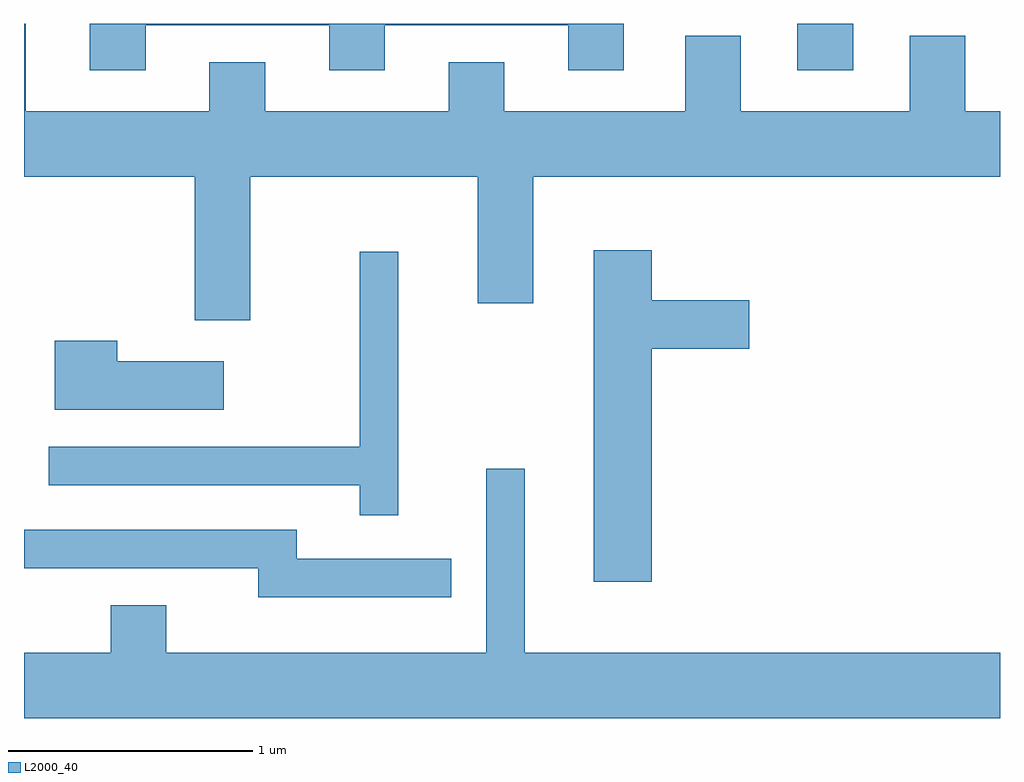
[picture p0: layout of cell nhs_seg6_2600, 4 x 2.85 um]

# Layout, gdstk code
import gdstk
lib = gdstk.Library(unit=1e-6, precision=1e-09)
def R(c, l, rs):  # rectangles x0, y0, x1, y1
    for r in rs: c.add(gdstk.rectangle(r[:2], r[2:], *l))
def P(c, l, *ps):  # polygons
    for p in ps: c.add(gdstk.Polygon(p, *l))
L2000_40 = (2000, 40)

nhs_seg6_2600 = lib.new_cell('nhs_seg6_2600')
R(nhs_seg6_2600, L2000_40, [(266.781,1605.971,267.009,1606.162)])
P(nhs_seg6_2600, L2000_40, [(264.109,1606.156),(264.861,1606.156),(264.861,1605.971),(265.089,1605.971),(265.089,1606.156),(265.841,1606.156),(265.841,1605.971),(266.069,1605.971),(266.069,1606.162),(263.881,1606.162),(263.881,1605.971),(264.109,1605.971)],
  [(264.539,1605.536),(265.471,1605.536),(265.471,1605.016),(265.699,1605.016),(265.699,1605.536),(267.611,1605.536),(267.611,1605.804),(267.469,1605.804),(267.469,1606.114),(267.241,1606.114),(267.241,1605.804),(266.549,1605.804),(266.549,1606.114),(266.321,1606.114),(266.321,1605.804),(265.579,1605.804),(265.579,1606.004),(265.351,1606.004),(265.351,1605.804),(264.599,1605.804),(264.599,1606.004),(264.371,1606.004),(264.371,1605.804),(263.619,1605.804),(263.619,1606.162),(263.611,1606.162),(263.611,1605.536),(264.311,1605.536),(264.311,1604.946),(264.539,1604.946)],
  [(266.184,1604.831),(266.584,1604.831),(266.584,1605.029),(266.184,1605.029),(266.184,1605.234),(265.946,1605.234),(265.946,1603.876),(266.184,1603.876)],
  [(265.144,1605.228),(264.986,1605.228),(264.986,1604.429),(263.713,1604.429),(263.713,1604.271),(264.986,1604.271),(264.986,1604.148),(265.144,1604.148)],
  [(264.429,1604.779),(263.994,1604.779),(263.994,1604.864),(263.736,1604.864),(263.736,1604.581),(264.429,1604.581)],
  [(267.611,1603.584),(265.664,1603.584),(265.664,1604.338),(265.506,1604.338),(265.506,1603.584),(264.194,1603.584),(264.194,1603.779),(263.966,1603.779),(263.966,1603.584),(263.611,1603.584),(263.611,1603.316),(267.611,1603.316)],
  [(265.363,1603.969),(264.729,1603.969),(264.729,1604.089),(263.611,1604.089),(263.611,1603.931),(264.571,1603.931),(264.571,1603.811),(265.363,1603.811)])

lib.write_gds('nhs_seg6_2600.gds')
